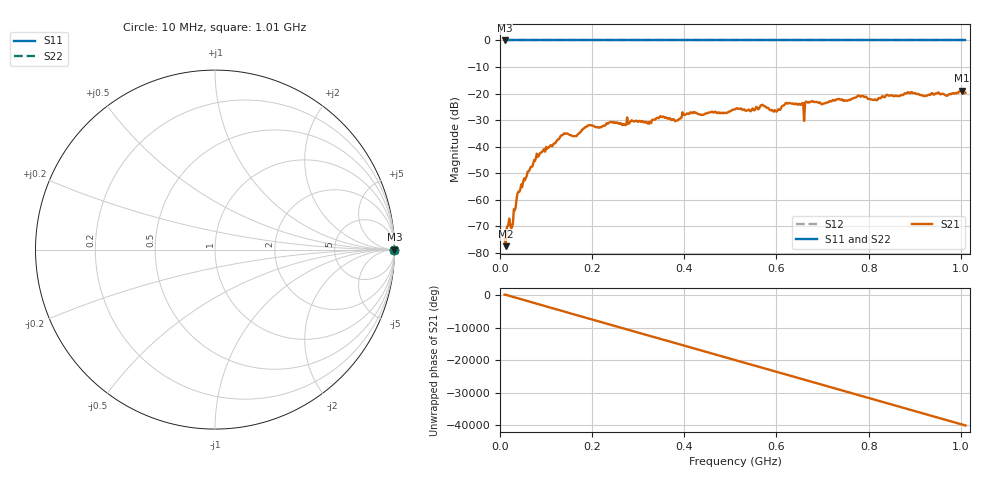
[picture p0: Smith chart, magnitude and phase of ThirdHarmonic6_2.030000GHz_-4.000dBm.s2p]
! 8/17/2025 12:21:19 AM
! C:\ANRITSUVNA\TEMP\TEMP.S2P
! CHANNEL.1
! TR.MEASUREMENT
! RAW.DATA
! RF.CORRECTION.OFF
! AVERAGING.OFF
! IF.BANDWIDTH: 5KHZ
! SWEEPTYPE:  FREQ.SWEEP(Linear)
! Reference Plane Port Info
! PORT:  PORT1  PORT2
! DISTANCE:  0  m  0  m
! TIME:  0  s  0  s
! PHASE.OFFSET:  0  deg.  0  deg.
! LOSS:  0  dB  0  dB
! REF.LOSS:  0  dB  0  dB
! REF.FREQ:  0  Hz  0  Hz
! Power Info
! POWER:  -20  dBm  -20  dBm
! EFF.POWER:  -20  dBm  -20  dBm
! SOURCE.ATTEN:  0  dB  0  dB
! TEST.ATTEN:  0  dB  0  dB
# GHZ S RI R 50.0
! FREQ.GHZ  S11RE  S11IM  S21RE  S21IM  S12RE  S12IM  S22RE  S22IM
!; PortSelection: Port_12
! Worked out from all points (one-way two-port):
!   501 points, 10 MHz to 1.01 GHz, reference 50 ohm
!   highest |S21| = -18.88 dB at 1.002 GHz (marker M1); lowest = -77.5 dB at 12 MHz (marker M2)
!   lowest |S11| = 0.0 dB at 10 MHz (marker M3)
!   |S11| at or under -10 dB: nowhere
!   |S22| runs from 0.0 to 0.0 dB; largest |S21 - S12| = 1.1
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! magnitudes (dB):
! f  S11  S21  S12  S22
! 10 MHz  0.0  -74.7  0.0  0.0
! 12 MHz  0.0  -77.5  0.0  0.0
! 18 MHz  0.0  -69.8  0.0  0.0
! 28 MHz  0.0  -69.1  0.0  0.0
! 42 MHz  0.0  -57.0  0.0  0.0
! 78 MHz  0.0  -44.2  0.0  0.0
! 136 MHz  0.0  -35.6  0.0  0.0
! 162 MHz  0.0  -36.0  0.0  0.0
! 178 MHz  0.0  -33.6  0.0  0.0
! 324 MHz  0.0  -31.4  0.0  0.0
! 344 MHz  0.0  -29.3  0.0  0.0
! 384 MHz  0.0  -30.1  0.0  0.0
! 416 MHz  0.0  -27.3  0.0  0.0
! 510 MHz  0.0  -25.9  0.0  0.0
! 570 MHz  0.0  -24.3  0.0  0.0
! 598 MHz  0.0  -26.5  0.0  0.0
! 624 MHz  0.0  -23.8  0.0  0.0
! 656 MHz  0.0  -23.6  0.0  0.0
! 678 MHz  0.0  -22.8  0.0  0.0
! 844 MHz  0.0  -20.8  0.0  0.0
! 1.002 GHz  0.0  -18.9  0.0  0.0
! 1.01 GHz  0.0  -19.7  0.0  0.0
